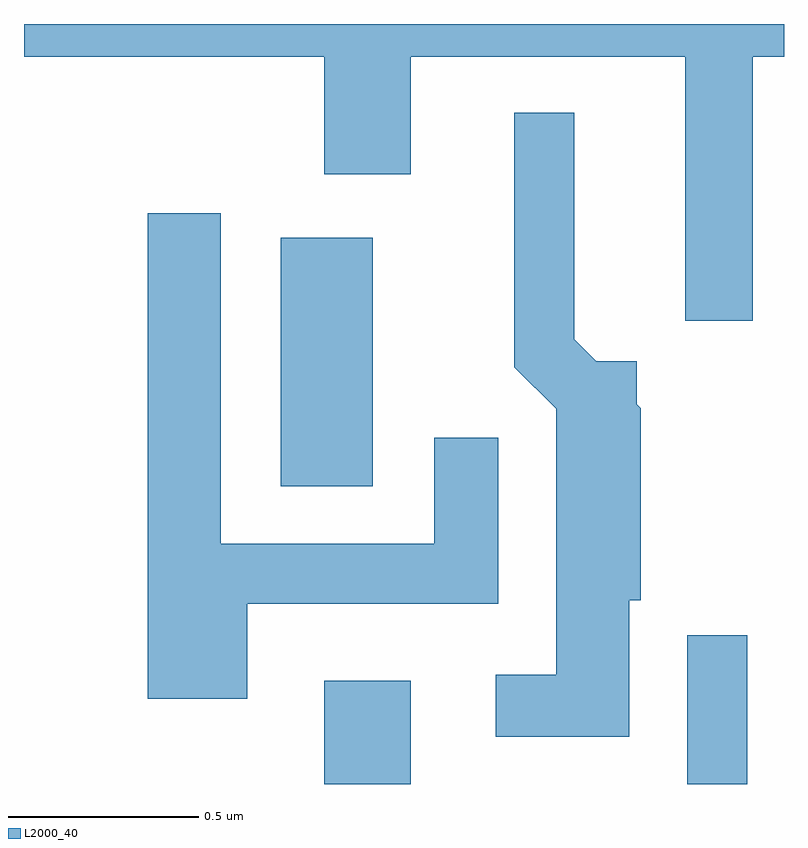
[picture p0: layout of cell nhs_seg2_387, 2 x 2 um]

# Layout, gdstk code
import gdstk
lib = gdstk.Library(unit=1e-6, precision=1e-09)
def R(c, l, rs):  # rectangles x0, y0, x1, y1
    for r in rs: c.add(gdstk.rectangle(r[:2], r[2:], *l))
def P(c, l, *ps):  # polygons
    for p in ps: c.add(gdstk.Polygon(p, *l))
L2000_40 = (2000, 40)

nhs_seg2_387 = lib.new_cell('nhs_seg2_387')
R(nhs_seg2_387, L2000_40, [(188.401,1090.802,188.629,1091.074), (189.356,1090.802,189.514,1091.193), (188.286,1091.586,188.529,1092.239)])
P(nhs_seg2_387, L2000_40, [(189.529,1092.716),(189.611,1092.716),(189.611,1092.802),(187.611,1092.802),(187.611,1092.716),(188.401,1092.716),(188.401,1092.406),(188.629,1092.406),(188.629,1092.716),(189.351,1092.716),(189.351,1092.021),(189.529,1092.021)],
  [(189.204,1091.286),(189.234,1091.286),(189.234,1091.791),(189.224,1091.801),(189.224,1091.914),(189.117,1091.914),(189.059,1091.972),(189.059,1092.568),(188.901,1092.568),(188.901,1091.899),(189.011,1091.789),(189.011,1091.089),(188.853,1091.089),(188.853,1090.926),(189.204,1090.926)],
  [(188.199,1091.276),(188.859,1091.276),(188.859,1091.713),(188.691,1091.713),(188.691,1091.434),(188.129,1091.434),(188.129,1092.304),(187.936,1092.304),(187.936,1091.026),(188.199,1091.026)])

lib.write_gds('nhs_seg2_387.gds')
